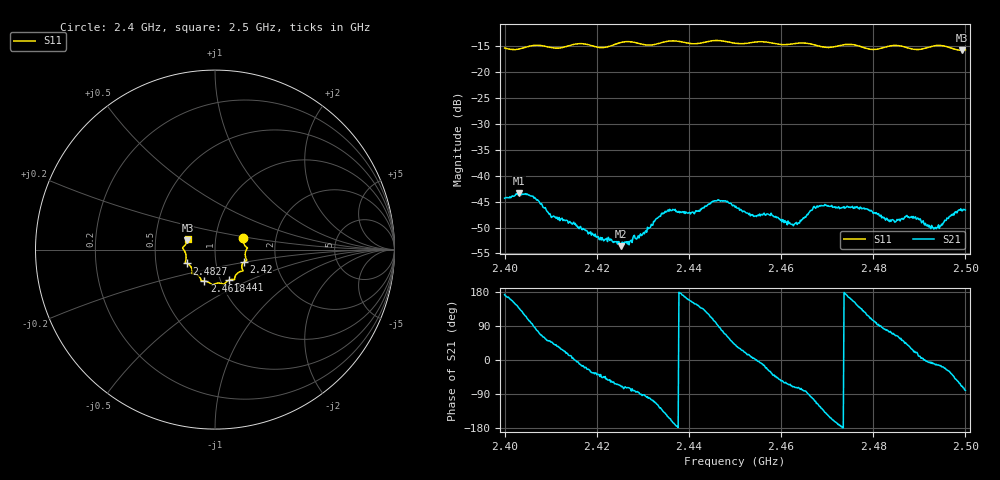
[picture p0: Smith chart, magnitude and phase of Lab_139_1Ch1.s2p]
# Hz S RI R 50
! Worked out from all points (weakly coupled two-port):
!   601 points, 2.4 GHz to 2.5 GHz, reference 50 ohm
!   highest |S21| = -43.32 dB at 2.4032 GHz (marker M1); lowest = -53.6 dB at 2.4252 GHz (marker M2)
!   lowest |S11| = -15.8 dB at 2.4993 GHz (marker M3), VSWR 1.39, Z = 36.5 + j3.85 ohm
!   |S11| at or under -10 dB: start of sweep to end of sweep
!   S12 and S22 are empty: the file has one direction only
!   S11 on the Smith chart (normalised r, x): 2.4 GHz: 1.36, +0.18; 2.42 GHz: 1.36, -0.20; 2.441 GHz: 1.10, -0.39; 2.4618 GHz: 0.84, -0.30; 2.4827 GHz: 0.72, -0.12; 2.5 GHz: 0.73, +0.09
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2.4e9  0.1583 0.0627  -0.00602 0.000762  0 0  0 0
2.403167e9  0.1645 0.0263  -0.00494 0.00471  0 0  0 0
2.406167e9  0.1794 0.0108  -0.00014 0.00634  0 0  0 0
2.416667e9  0.1776 -0.0609  0.00298 -0.000797  0 0  0 0
2.42e9  0.1593 -0.0703  0.00198 -0.00161  0 0  0 0
2.425167e9  0.1547 -0.1142  0.000803 -0.00193  0 0  0 0
2.430333e9  0.1332 -0.1261  -9.13e-05 -0.00275  0 0  0 0
2.433333e9  0.1116 -0.151  -0.00199 -0.00343  0 0  0 0
2.436e9  0.1093 -0.1665  -0.00421 -0.00192  0 0  0 0
2.441e9  0.0783 -0.1699  -0.00387 0.00212  0 0  0 0
2.446e9  0.05 -0.195  -0.000537 0.0057  0 0  0 0
2.45e9  0.0283 -0.187  0.00379 0.00323  0 0  0 0
2.461833e9  -0.0596 -0.1754  0.00148 -0.00322  0 0  0 0
2.464e9  -0.0736 -0.1751  0.00088 -0.00338  0 0  0 0
2.466667e9  -0.0783 -0.1682  -0.000717 -0.00457  0 0  0 0
2.476833e9  -0.1269 -0.1255  -0.00373 0.00314  0 0  0 0
2.482667e9  -0.1562 -0.0772  0.000591 0.00368  0 0  0 0
2.483333e9  -0.1604 -0.0753  0.000962 0.0036  0 0  0 0
2.488667e9  -0.1607 -0.0413  0.00367 0.00171  0 0  0 0
2.4935e9  -0.1794 0.00708  0.00309 -0.000703  0 0  0 0
2.499333e9  -0.1539 0.0514  0.00161 -0.00429  0 0  0 0
2.5e9  -0.1522 0.0609  0.00078 -0.0046  0 0  0 0
